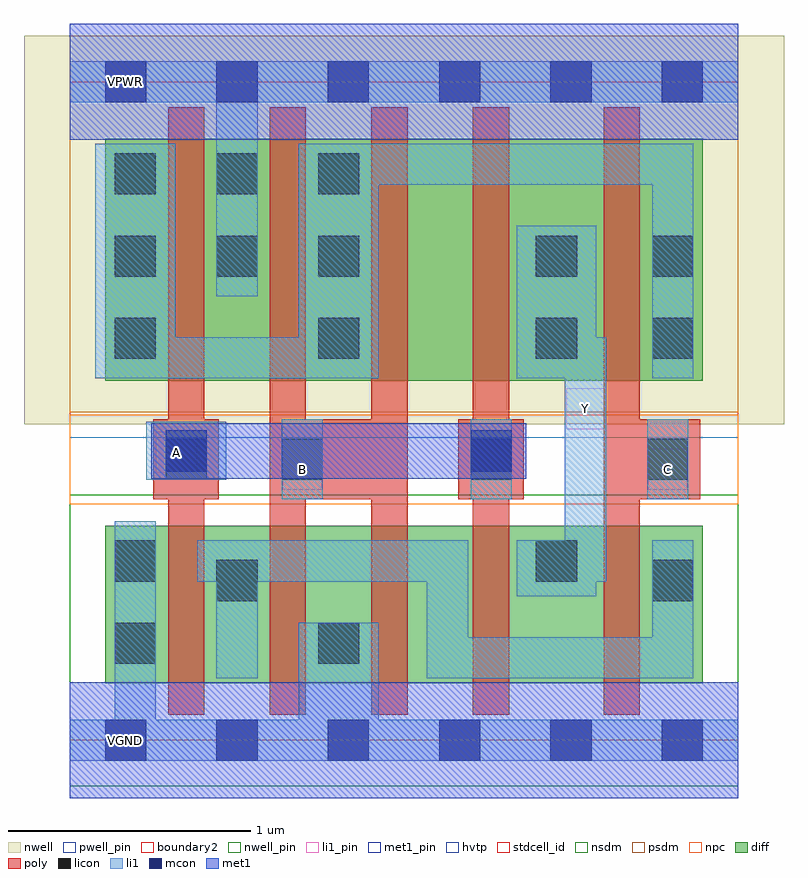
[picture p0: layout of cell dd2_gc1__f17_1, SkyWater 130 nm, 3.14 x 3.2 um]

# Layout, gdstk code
import gdstk
lib = gdstk.Library(unit=1e-6, precision=1e-09)
def R(c, l, rs):  # rectangles x0, y0, x1, y1
    for r in rs: c.add(gdstk.rectangle(r[:2], r[2:], *l))
def A(c, l, x, y, w, h, nx, ny, dx, dy):  # array of equal rectangles
    R(c, l, [(x+i*dx, y+j*dy, x+i*dx+w, y+j*dy+h) for i in range(nx) for j in range(ny)])
nwell_pin = (64, 16)
nwell = (64, 20)
diff = (65, 20)
poly = (66, 20)
licon = (66, 44)
li1_pin = (67, 16)
li1 = (67, 20)
mcon = (67, 44)
met1_pin = (68, 16)
met1 = (68, 20)
hvtp = (78, 44)
stdcell_id = (81, 4)
nsdm = (93, 44)
psdm = (94, 20)
npc = (95, 20)
pwell_pin = (122, 16)
boundary2 = (236, 0)

dd2_gc1__f17_1 = lib.new_cell('dd2_gc1__f17_1')
R(dd2_gc1__f17_1, nwell_pin, [(0.145,2.635,0.315,2.805)])
R(dd2_gc1__f17_1, nwell, [(-0.19,1.305,2.95,2.91)])
R(dd2_gc1__f17_1, diff, [(0.145,0.235,2.615,0.885), (0.145,1.485,2.615,2.485)])
A(dd2_gc1__f17_1, poly, 0.405, 0.105, 0.15, 2.51, 4, 1, 0.42, 0)
R(dd2_gc1__f17_1, poly, [(2.205,0.105,2.355,2.615), (0.345,0.995,0.615,1.325), (0.825,0.995,1.395,1.325), (1.605,0.995,1.875,1.325), (2.205,0.995,2.605,1.325)])
A(dd2_gc1__f17_1, licon, 0.185, 1.915, 0.17, 0.17, 3, 2, 0.42, 0.34)
R(dd2_gc1__f17_1, licon, [(0.185,0.315,0.355,0.485), (1.025,0.315,1.195,0.485), (0.605,0.575,0.775,0.745), (2.405,0.575,2.575,0.745), (0.185,0.655,0.355,0.825), (1.925,0.655,2.095,0.825), (0.395,1.075,0.565,1.245), (0.875,1.075,1.045,1.245), (1.655,1.075,1.825,1.245), (2.385,1.075,2.555,1.245), (0.185,1.575,0.355,1.745), (1.025,1.575,1.195,1.745), (1.925,1.575,2.095,1.745), (2.405,1.575,2.575,1.745), (1.925,1.915,2.095,2.085), (2.405,1.915,2.575,2.085)])
R(dd2_gc1__f17_1, li1_pin, [(0.88,1.035,1.04,1.205), (2.39,1.035,2.55,1.205), (0.355,1.105,0.525,1.275), (2.05,1.285,2.21,1.455)])
R(dd2_gc1__f17_1, li1, [(0,-0.085,2.76,0.085), (0.185,-0.085,0.355,0.905), (0.945,-0.085,1.275,0.485), (0.605,0.255,0.775,0.825), (1.475,0.255,1.645,0.825), (1.475,0.255,2.575,0.425), (2.405,0.255,2.575,0.825), (1.845,0.595,2.175,0.825), (0.525,0.655,1.645,0.825), (1.925,0.655,2.215,0.825), (2.045,0.815,2.215,1.505), (0.875,0.995,1.045,1.325), (1.655,0.995,1.825,1.325), (2.385,0.995,2.555,1.325), (0.315,1.075,0.645,1.315), (0.105,1.495,0.435,2.465), (0.105,1.495,1.275,1.665), (0.945,1.495,1.275,2.465), (1.845,1.495,2.175,2.125), (1.925,1.495,2.215,1.665), (2.405,1.495,2.575,2.465), (0.605,1.835,0.775,2.805), (0.945,2.295,2.575,2.465), (0,2.635,2.76,2.805)])
A(dd2_gc1__f17_1, mcon, 0.145, -0.085, 0.17, 0.17, 6, 2, 0.46, 2.72)
R(dd2_gc1__f17_1, mcon, [(0.395,1.11,0.565,1.28), (1.655,1.11,1.825,1.28)])
R(dd2_gc1__f17_1, met1_pin, [(0.145,-0.085,0.315,0.085), (0.145,2.635,0.315,2.805)])
R(dd2_gc1__f17_1, met1, [(0,-0.24,2.76,0.24), (0.335,1.08,1.885,1.31), (0,2.48,2.76,2.96)])
R(dd2_gc1__f17_1, hvtp, [(0,1.25,2.76,2.72)])
R(dd2_gc1__f17_1, stdcell_id, [(0,0,2.76,2.72)])
R(dd2_gc1__f17_1, nsdm, [(0,-0.19,2.76,1.015)])
R(dd2_gc1__f17_1, psdm, [(0,1.355,2.76,2.91)])
R(dd2_gc1__f17_1, npc, [(0,0.975,2.76,1.345)])
R(dd2_gc1__f17_1, pwell_pin, [(0.145,-0.085,0.315,0.085)])
R(dd2_gc1__f17_1, boundary2, [(0,0,2.76,2.72)])
dd2_gc1__f17_1.add(gdstk.Label('A', (0.44,1.19), layer=67, texttype=5))
dd2_gc1__f17_1.add(gdstk.Label('B', (0.96,1.12), layer=67, texttype=5))
dd2_gc1__f17_1.add(gdstk.Label('C', (2.47,1.12), layer=67, texttype=5))
dd2_gc1__f17_1.add(gdstk.Label('Y', (2.13,1.37), layer=67, texttype=5))
dd2_gc1__f17_1.add(gdstk.Label('VGND', (0.23,0), layer=68, texttype=5))
dd2_gc1__f17_1.add(gdstk.Label('VPWR', (0.23,2.72), layer=68, texttype=5))
dd2_gc1__f17_1.add(gdstk.Label('VPB', (0.23,2.72), layer=64, texttype=5))
dd2_gc1__f17_1.add(gdstk.Label('VNB', (0.23,0), layer=64, texttype=59))

lib.write_gds('dd2_gc1__f17_1.gds')
